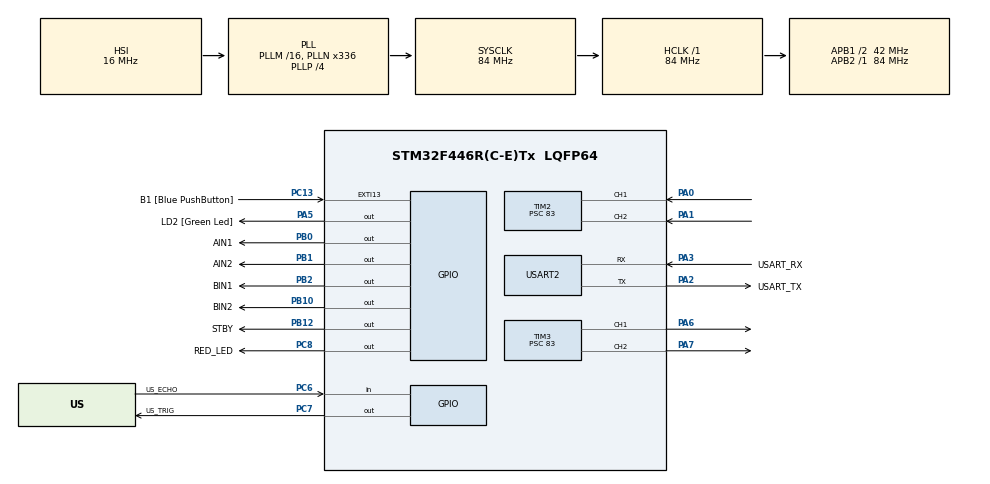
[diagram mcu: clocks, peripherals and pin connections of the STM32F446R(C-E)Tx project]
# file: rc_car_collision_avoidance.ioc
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Mcu.Family=STM32F4
Mcu.Name=STM32F446R(C-E)Tx
Mcu.Package=LQFP64
NVIC.PriorityGroup=NVIC_PRIORITYGROUP_0
NVIC.TIM2_IRQn=true\:0\:0\:false\:false\:true\:true\:true\:true
PA0-WKUP.Signal=S_TIM2_CH1_ETR
PA1.Signal=S_TIM2_CH2
PA13.GPIO_Label=TMS
PA13.Mode=Serial_Wire
PA13.Signal=SYS_JTMS-SWDIO
PA14.GPIO_Label=TCK
PA14.Mode=Serial_Wire
PA14.Signal=SYS_JTCK-SWCLK
PA2.GPIO_Label=USART_TX
PA2.Mode=Asynchronous
PA2.Signal=USART2_TX
PA3.GPIO_Label=USART_RX
PA3.Mode=Asynchronous
PA3.Signal=USART2_RX
PA5.GPIO_Label=LD2 [Green Led]
PA5.Signal=GPIO_Output
PA6.Signal=S_TIM3_CH1
PA7.Signal=S_TIM3_CH2
PB0.GPIO_Label=AIN1
PB0.Signal=GPIO_Output
PB1.GPIO_Label=AIN2
PB1.Signal=GPIO_Output
PB10.GPIO_Label=BIN2
PB10.Signal=GPIO_Output
PB12.GPIO_Label=STBY
PB12.Signal=GPIO_Output
PB2.GPIO_Label=BIN1
PB2.Signal=GPIO_Output
PB3.GPIO_Label=SWO
PB3.Signal=SYS_JTDO-SWO
PC13.GPIO_Label=B1 [Blue PushButton]
PC13.GPIO_ModeDefaultEXTI=GPIO_MODE_IT_FALLING
PC13.Signal=GPXTI13
PC14-OSC32_IN.Mode=LSE-External-Oscillator
PC14-OSC32_IN.Signal=RCC_OSC32_IN
PC15-OSC32_OUT.Mode=LSE-External-Oscillator
PC15-OSC32_OUT.Signal=RCC_OSC32_OUT
PC6.GPIO_Label=US_ECHO
PC6.Signal=GPIO_Input
PC7.GPIO_Label=US_TRIG
PC7.Signal=GPIO_Output
PC8.GPIO_Label=RED_LED
PC8.Signal=GPIO_Output
PH0-OSC_IN.Mode=HSE-External-Oscillator
PH0-OSC_IN.Signal=RCC_OSC_IN
PH1-OSC_OUT.Mode=HSE-External-Oscillator
PH1-OSC_OUT.Signal=RCC_OSC_OUT
ProjectManager.HeapSize=0x200
ProjectManager.StackSize=0x400
ProjectManager.TargetToolchain=STM32CubeIDE
RCC.48MHZClocksFreq_Value=84000000
RCC.AHBFreq_Value=84000000
RCC.APB1CLKDivider=RCC_HCLK_DIV2
RCC.APB1Freq_Value=42000000
RCC.APB1TimFreq_Value=84000000
RCC.APB2Freq_Value=84000000
RCC.APB2TimFreq_Value=84000000
RCC.CortexFreq_Value=84000000
RCC.FLatency-AdvancedSettings=FLASH_LATENCY_2
RCC.HCLKFreq_Value=84000000
RCC.HSE_VALUE=8000000
RCC.HSI_VALUE=16000000
RCC.PLLN=336
RCC.PLLP=RCC_PLLP_DIV4
RCC.SYSCLKFreq_VALUE=84000000
RCC.SYSCLKSource=RCC_SYSCLKSOURCE_PLLCLK
RCC.USBFreq_Value=168000000
RCC.VCOOutputFreq_Value=336000000
SH.S_TIM2_CH1_ETR.0=TIM2_CH1,Input_Capture1_from_TI1
SH.S_TIM2_CH2.0=TIM2_CH2,Input_Capture2_from_TI2
SH.S_TIM3_CH1.0=TIM3_CH1,PWM Generation1 CH1
SH.S_TIM3_CH2.0=TIM3_CH2,PWM Generation2 CH2
TIM2.Channel-Input_Capture1_from_TI1=TIM_CHANNEL_1
TIM2.Channel-Input_Capture2_from_TI2=TIM_CHANNEL_2
TIM2.Period=65535
TIM2.Prescaler=83
TIM3.Channel-PWM\ Generation1\ CH1=TIM_CHANNEL_1
TIM3.Channel-PWM\ Generation2\ CH2=TIM_CHANNEL_2
TIM3.Period=100
TIM3.Prescaler=83
USART2.VirtualMode=VM_ASYNC
VP_TIM2_VS_ClockSourceINT.Mode=Internal
VP_TIM3_VS_ClockSourceINT.Mode=Internal
board=NUCLEO-F446RE

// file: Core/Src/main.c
/* USER CODE BEGIN Header */
/**
  ******************************************************************************
  * @file           : main.c
  * @brief          : Main program body
  ******************************************************************************
  * @attention
  *
  * Copyright (c) 2026 STMicroelectronics.
  * All rights reserved.
  *
  * This software is licensed under terms that can be found in the LICENSE file
  * in the root directory of this software component.
  * If no LICENSE file comes with this software, it is provided AS-IS.
  *
  ******************************************************************************
  */
/* USER CODE END Header */
#include "main.h"

/* USER CODE BEGIN Includes */
#include <stdio.h>
#include <stdlib.h>
/* USER CODE END Includes */

/* USER CODE BEGIN PD */
#define WARNING_DISTANCE_CM   25
#define STOP_DISTANCE_CM      12
#define ECHO_TIMEOUT_US       30000
/* USER CODE END PD */

TIM_HandleTypeDef htim2;
TIM_HandleTypeDef htim3;

UART_HandleTypeDef huart2;

/* USER CODE BEGIN PV */
volatile uint32_t ch1_rise = 0;
volatile uint32_t ch2_rise = 0;

volatile uint16_t ch1_us = 1500;   // steering
volatile uint16_t ch2_us = 1500;   // throttle

volatile uint8_t ch1_wait_falling = 0;
volatile uint8_t ch2_wait_falling = 0;

uint32_t front_distance_cm = 999;
/* USER CODE END PV */

void SystemClock_Config(void);
static void MX_GPIO_Init(void);
static void MX_USART2_UART_Init(void);
static void MX_TIM2_Init(void);
static void MX_TIM3_Init(void);
/* USER CODE BEGIN PFP */
int __io_putchar(int ch);
int clamp_cmd(int x);
int map_pulse_to_cmd(uint16_t us);
void motor_left_set(int cmd);
void motor_right_set(int cmd);
void delay_us(uint16_t us);
uint32_t ultrasonic_read_cm(void);
/* USER CODE END PFP */

/* USER CODE BEGIN 0 */

int __io_putchar(int ch)
{
  HAL_UART_Transmit(&huart2, (uint8_t *)&ch, 1, HAL_MAX_DELAY);
  return ch;
}

int clamp_cmd(int x)
{
  if (x > 100) return 100;
  if (x < -100) return -100;
  return x;
}

int map_pulse_to_cmd(uint16_t us)
{
  int val = ((int)us - 1500) / 5;   // about -100 to 100

  if (abs(val) < 5) {
    val = 0;
  }

  return clamp_cmd(val);
}

void motor_left_set(int cmd)
{
  int pwm = abs(cmd);
  if (pwm > 100) pwm = 100;

  if (cmd > 0) {
    HAL_GPIO_WritePin(AIN1_GPIO_Port, AIN1_Pin, GPIO_PIN_SET);
    HAL_GPIO_WritePin(AIN2_GPIO_Port, AIN2_Pin, GPIO_PIN_RESET);
  } else if (cmd < 0) {
    HAL_GPIO_WritePin(AIN1_GPIO_Port, AIN1_Pin, GPIO_PIN_RESET);
    HAL_GPIO_WritePin(AIN2_GPIO_Port, AIN2_Pin, GPIO_PIN_SET);
  } else {
    HAL_GPIO_WritePin(AIN1_GPIO_Port, AIN1_Pin, GPIO_PIN_RESET);
    HAL_GPIO_WritePin(AIN2_GPIO_Port, AIN2_Pin, GPIO_PIN_RESET);
  }

  __HAL_TIM_SET_COMPARE(&htim3, TIM_CHANNEL_1, pwm);
}

void motor_right_set(int cmd)
{
  int pwm = abs(cmd);
  if (pwm > 100) pwm = 100;

  if (cmd > 0) {
    HAL_GPIO_WritePin(BIN1_GPIO_Port, BIN1_Pin, GPIO_PIN_SET);
    HAL_GPIO_WritePin(BIN2_GPIO_Port, BIN2_Pin, GPIO_PIN_RESET);
  } else if (cmd < 0) {
    HAL_GPIO_WritePin(BIN1_GPIO_Port, BIN1_Pin, GPIO_PIN_RESET);
    HAL_GPIO_WritePin(BIN2_GPIO_Port, BIN2_Pin, GPIO_PIN_SET);
  } else {
    HAL_GPIO_WritePin(BIN1_GPIO_Port, BIN1_Pin, GPIO_PIN_RESET);
    HAL_GPIO_WritePin(BIN2_GPIO_Port, BIN2_Pin, GPIO_PIN_RESET);
  }

  __HAL_TIM_SET_COMPARE(&htim3, TIM_CHANNEL_2, pwm);
}

void delay_us(uint16_t us)
{
  __HAL_TIM_SET_COUNTER(&htim2, 0);
  while (__HAL_TIM_GET_COUNTER(&htim2) < us);
}

uint32_t ultrasonic_read_cm(void)
{
  uint32_t start_tick;
  uint32_t echo_start;
  uint32_t echo_end;
  uint32_t pulse_width_us;

  HAL_GPIO_WritePin(US_TRIG_GPIO_Port, US_TRIG_Pin, GPIO_PIN_RESET);
  delay_us(2);

  HAL_GPIO_WritePin(US_TRIG_GPIO_Port, US_TRIG_Pin, GPIO_PIN_SET);
  delay_us(10);
  HAL_GPIO_WritePin(US_TRIG_GPIO_Port, US_TRIG_Pin, GPIO_PIN_RESET);

  start_tick = __HAL_TIM_GET_COUNTER(&htim2);
  while (HAL_GPIO_ReadPin(US_ECHO_GPIO_Port, US_ECHO_Pin) == GPIO_PIN_RESET)
  {
    if (((__HAL_TIM_GET_COUNTER(&htim2) - start_tick) & 0xFFFF) > ECHO_TIMEOUT_US) {
      return 999;
    }
  }

  echo_start = __HAL_TIM_GET_COUNTER(&htim2);

  while (HAL_GPIO_ReadPin(US_ECHO_GPIO_Port, US_ECHO_Pin) == GPIO_PIN_SET)
  {
    if (((__HAL_TIM_GET_COUNTER(&htim2) - echo_start) & 0xFFFF) > ECHO_TIMEOUT_US) {
      return 999;
    }
  }

  echo_end = __HAL_TIM_GET_COUNTER(&htim2);

  if (echo_end >= echo_start) {
    pulse_width_us = echo_end - echo_start;
  } else {
    pulse_width_us = (65535 - echo_start + 1) + echo_end;
  }

  return pulse_width_us / 58;
}

/* USER CODE END 0 */

int main(void)
{

  /* MCU Configuration--------------------------------------------------------*/

  HAL_Init();

  SystemClock_Config();

  MX_GPIO_Init();
  MX_USART2_UART_Init();
  MX_TIM2_Init();
  MX_TIM3_Init();

  /* USER CODE BEGIN 2 */
  HAL_TIM_IC_Start_IT(&htim2, TIM_CHANNEL_1);
  HAL_TIM_IC_Start_IT(&htim2, TIM_CHANNEL_2);

  HAL_TIM_Base_Start(&htim2);

  HAL_TIM_PWM_Start(&htim3, TIM_CHANNEL_1);
  HAL_TIM_PWM_Start(&htim3, TIM_CHANNEL_2);

  HAL_GPIO_WritePin(STBY_GPIO_Port, STBY_Pin, GPIO_PIN_SET);
  HAL_GPIO_WritePin(RED_LED_GPIO_Port, RED_LED_Pin, GPIO_PIN_RESET);

  printf("RC car collision avoidance started\r\n");
  /* USER CODE END 2 */

  /* Infinite loop */
  /* USER CODE BEGIN WHILE */
  while (1)
  {
    int steering = map_pulse_to_cmd(ch1_us);
    int throttle = map_pulse_to_cmd(ch2_us);

    steering = -steering;
    throttle = -throttle;

    front_distance_cm = ultrasonic_read_cm();

    if (front_distance_cm < WARNING_DISTANCE_CM) {
      HAL_GPIO_WritePin(RED_LED_GPIO_Port, RED_LED_Pin, GPIO_PIN_SET);
    } else {
      HAL_GPIO_WritePin(RED_LED_GPIO_Port, RED_LED_Pin, GPIO_PIN_RESET);
    }

    // After inversion, forward motion corresponds to throttle < 0
    if ((front_distance_cm < STOP_DISTANCE_CM) && (throttle < 0)) {
      throttle = 0;
    }

    int left_cmd  = clamp_cmd(throttle + steering);
    int right_cmd = clamp_cmd(throttle - steering);

    motor_left_set(left_cmd);
    motor_right_set(right_cmd);

    printf("CH1=%u CH2=%u Dist=%lucm L=%d R=%d\r\n",
           ch1_us, ch2_us, front_distance_cm, left_cmd, right_cmd);

    HAL_Delay(50);

    /* USER CODE END WHILE */

  }
}

void SystemClock_Config(void)
{
  RCC_OscInitTypeDef RCC_OscInitStruct = {0};
  RCC_ClkInitTypeDef RCC_ClkInitStruct = {0};

  __HAL_RCC_PWR_CLK_ENABLE();
  __HAL_PWR_VOLTAGESCALING_CONFIG(PWR_REGULATOR_VOLTAGE_SCALE3);

  RCC_OscInitStruct.OscillatorType = RCC_OSCILLATORTYPE_HSI;
  RCC_OscInitStruct.HSIState = RCC_HSI_ON;
  RCC_OscInitStruct.HSICalibrationValue = RCC_HSICALIBRATION_DEFAULT;
  RCC_OscInitStruct.PLL.PLLState = RCC_PLL_ON;
  RCC_OscInitStruct.PLL.PLLSource = RCC_PLLSOURCE_HSI;
  RCC_OscInitStruct.PLL.PLLM = 16;
  RCC_OscInitStruct.PLL.PLLN = 336;
  RCC_OscInitStruct.PLL.PLLP = RCC_PLLP_DIV4;
  RCC_OscInitStruct.PLL.PLLQ = 2;
  RCC_OscInitStruct.PLL.PLLR = 2;
  if (HAL_RCC_OscConfig(&RCC_OscInitStruct) != HAL_OK)
  {
    Error_Handler();
  }

  RCC_ClkInitStruct.ClockType = RCC_CLOCKTYPE_HCLK|RCC_CLOCKTYPE_SYSCLK
                              |RCC_CLOCKTYPE_PCLK1|RCC_CLOCKTYPE_PCLK2;
  RCC_ClkInitStruct.SYSCLKSource = RCC_SYSCLKSOURCE_PLLCLK;
  RCC_ClkInitStruct.AHBCLKDivider = RCC_SYSCLK_DIV1;
  RCC_ClkInitStruct.APB1CLKDivider = RCC_HCLK_DIV2;
  RCC_ClkInitStruct.APB2CLKDivider = RCC_HCLK_DIV1;

  if (HAL_RCC_ClockConfig(&RCC_ClkInitStruct, FLASH_LATENCY_2) != HAL_OK)
  {
    Error_Handler();
  }
}

static void MX_TIM2_Init(void)
{

  TIM_ClockConfigTypeDef sClockSourceConfig = {0};
  TIM_MasterConfigTypeDef sMasterConfig = {0};
  TIM_IC_InitTypeDef sConfigIC = {0};

  htim2.Instance = TIM2;
  htim2.Init.Prescaler = 83;
  htim2.Init.CounterMode = TIM_COUNTERMODE_UP;
  htim2.Init.Period = 65535;
  htim2.Init.ClockDivision = TIM_CLOCKDIVISION_DIV1;
  htim2.Init.AutoReloadPreload = TIM_AUTORELOAD_PRELOAD_DISABLE;
  if (HAL_TIM_Base_Init(&htim2) != HAL_OK)
  {
    Error_Handler();
  }
  sClockSourceConfig.ClockSource = TIM_CLOCKSOURCE_INTERNAL;
  if (HAL_TIM_ConfigClockSource(&htim2, &sClockSourceConfig) != HAL_OK)
  {
    Error_Handler();
  }
  if (HAL_TIM_IC_Init(&htim2) != HAL_OK)
  {
    Error_Handler();
  }
  sMasterConfig.MasterOutputTrigger = TIM_TRGO_RESET;
  sMasterConfig.MasterSlaveMode = TIM_MASTERSLAVEMODE_DISABLE;
  if (HAL_TIMEx_MasterConfigSynchronization(&htim2, &sMasterConfig) != HAL_OK)
  {
    Error_Handler();
  }
  sConfigIC.ICPolarity = TIM_INPUTCHANNELPOLARITY_RISING;
  sConfigIC.ICSelection = TIM_ICSELECTION_DIRECTTI;
  sConfigIC.ICPrescaler = TIM_ICPSC_DIV1;
  sConfigIC.ICFilter = 0;
  if (HAL_TIM_IC_ConfigChannel(&htim2, &sConfigIC, TIM_CHANNEL_1) != HAL_OK)
  {
    Error_Handler();
  }
  if (HAL_TIM_IC_ConfigChannel(&htim2, &sConfigIC, TIM_CHANNEL_2) != HAL_OK)
  {
    Error_Handler();
  }

}

static void MX_TIM3_Init(void)
{

  TIM_ClockConfigTypeDef sClockSourceConfig = {0};
  TIM_MasterConfigTypeDef sMasterConfig = {0};
  TIM_OC_InitTypeDef sConfigOC = {0};

  htim3.Instance = TIM3;
  htim3.Init.Prescaler = 83;
  htim3.Init.CounterMode = TIM_COUNTERMODE_UP;
  htim3.Init.Period = 100;
  htim3.Init.ClockDivision = TIM_CLOCKDIVISION_DIV1;
  htim3.Init.AutoReloadPreload = TIM_AUTORELOAD_PRELOAD_DISABLE;
  if (HAL_TIM_Base_Init(&htim3) != HAL_OK)
  {
    Error_Handler();
  }
  sClockSourceConfig.ClockSource = TIM_CLOCKSOURCE_INTERNAL;
  if (HAL_TIM_ConfigClockSource(&htim3, &sClockSourceConfig) != HAL_OK)
  {
    Error_Handler();
  }
  if (HAL_TIM_PWM_Init(&htim3) != HAL_OK)
  {
    Error_Handler();
  }
  sMasterConfig.MasterOutputTrigger = TIM_TRGO_RESET;
  sMasterConfig.MasterSlaveMode = TIM_MASTERSLAVEMODE_DISABLE;
  if (HAL_TIMEx_MasterConfigSynchronization(&htim3, &sMasterConfig) != HAL_OK)
  {
    Error_Handler();
  }
  sConfigOC.OCMode = TIM_OCMODE_PWM1;
  sConfigOC.Pulse = 0;
  sConfigOC.OCPolarity = TIM_OCPOLARITY_HIGH;
  sConfigOC.OCFastMode = TIM_OCFAST_DISABLE;
  if (HAL_TIM_PWM_ConfigChannel(&htim3, &sConfigOC, TIM_CHANNEL_1) != HAL_OK)
  {
    Error_Handler();
  }
  if (HAL_TIM_PWM_ConfigChannel(&htim3, &sConfigOC, TIM_CHANNEL_2) != HAL_OK)
  {
    Error_Handler();
  }
  HAL_TIM_MspPostInit(&htim3);

}

static void MX_USART2_UART_Init(void)
{

  huart2.Instance = USART2;
  huart2.Init.BaudRate = 115200;
  huart2.Init.WordLength = UART_WORDLENGTH_8B;
  huart2.Init.StopBits = UART_STOPBITS_1;
  huart2.Init.Parity = UART_PARITY_NONE;
  huart2.Init.Mode = UART_MODE_TX_RX;
  huart2.Init.HwFlowCtl = UART_HWCONTROL_NONE;
  huart2.Init.OverSampling = UART_OVERSAMPLING_16;
  if (HAL_UART_Init(&huart2) != HAL_OK)
  {
    Error_Handler();
  }

}

static void MX_GPIO_Init(void)
{
  GPIO_InitTypeDef GPIO_InitStruct = {0};

  /* GPIO Ports Clock Enable */
  __HAL_RCC_GPIOC_CLK_ENABLE();
  __HAL_RCC_GPIOH_CLK_ENABLE();
  __HAL_RCC_GPIOA_CLK_ENABLE();
  __HAL_RCC_GPIOB_CLK_ENABLE();

  /*Configure GPIO pin Output Level */
  HAL_GPIO_WritePin(LD2_GPIO_Port, LD2_Pin, GPIO_PIN_RESET);

  /*Configure GPIO pin Output Level */
  HAL_GPIO_WritePin(GPIOB, AIN1_Pin|AIN2_Pin|BIN1_Pin|BIN2_Pin
                          |STBY_Pin, GPIO_PIN_RESET);

  /*Configure GPIO pin Output Level */
  HAL_GPIO_WritePin(GPIOC, US_TRIG_Pin|RED_LED_Pin, GPIO_PIN_RESET);

  /*Configure GPIO pin : B1_Pin */
  GPIO_InitStruct.Pin = B1_Pin;
  GPIO_InitStruct.Mode = GPIO_MODE_IT_FALLING;
  GPIO_InitStruct.Pull = GPIO_NOPULL;
  HAL_GPIO_Init(B1_GPIO_Port, &GPIO_InitStruct);

  /*Configure GPIO pin : LD2_Pin */
  GPIO_InitStruct.Pin = LD2_Pin;
  GPIO_InitStruct.Mode = GPIO_MODE_OUTPUT_PP;
  GPIO_InitStruct.Pull = GPIO_NOPULL;
  GPIO_InitStruct.Speed = GPIO_SPEED_FREQ_LOW;
  HAL_GPIO_Init(LD2_GPIO_Port, &GPIO_InitStruct);

  /*Configure GPIO pins : AIN1_Pin AIN2_Pin BIN1_Pin BIN2_Pin
                           STBY_Pin */
  GPIO_InitStruct.Pin = AIN1_Pin|AIN2_Pin|BIN1_Pin|BIN2_Pin
                          |STBY_Pin;
  GPIO_InitStruct.Mode = GPIO_MODE_OUTPUT_PP;
  GPIO_InitStruct.Pull = GPIO_NOPULL;
  GPIO_InitStruct.Speed = GPIO_SPEED_FREQ_LOW;
  HAL_GPIO_Init(GPIOB, &GPIO_InitStruct);

  /*Configure GPIO pin : US_ECHO_Pin */
  GPIO_InitStruct.Pin = US_ECHO_Pin;
  GPIO_InitStruct.Mode = GPIO_MODE_INPUT;
  GPIO_InitStruct.Pull = GPIO_NOPULL;
  HAL_GPIO_Init(US_ECHO_GPIO_Port, &GPIO_InitStruct);

  /*Configure GPIO pins : US_TRIG_Pin RED_LED_Pin */
  GPIO_InitStruct.Pin = US_TRIG_Pin|RED_LED_Pin;
  GPIO_InitStruct.Mode = GPIO_MODE_OUTPUT_PP;
  GPIO_InitStruct.Pull = GPIO_NOPULL;
  GPIO_InitStruct.Speed = GPIO_SPEED_FREQ_LOW;
  HAL_GPIO_Init(GPIOC, &GPIO_InitStruct);

}

/* USER CODE BEGIN 4 */
void HAL_TIM_IC_CaptureCallback(TIM_HandleTypeDef *htim)
{
  if (htim->Instance == TIM2)
  {
    if (htim->Channel == HAL_TIM_ACTIVE_CHANNEL_1)
    {
      uint32_t capture = HAL_TIM_ReadCapturedValue(htim, TIM_CHANNEL_1);

      if (ch1_wait_falling == 0)
      {
        ch1_rise = capture;
        ch1_wait_falling = 1;
        __HAL_TIM_SET_CAPTUREPOLARITY(htim, TIM_CHANNEL_1, TIM_INPUTCHANNELPOLARITY_FALLING);
      }
      else
      {
        if (capture >= ch1_rise)
        {
          ch1_us = (uint16_t)(capture - ch1_rise);
        }
        else
        {
          ch1_us = (uint16_t)((65535 - ch1_rise + 1) + capture);
        }

        ch1_wait_falling = 0;
        __HAL_TIM_SET_CAPTUREPOLARITY(htim, TIM_CHANNEL_1, TIM_INPUTCHANNELPOLARITY_RISING);
      }
    }

    if (htim->Channel == HAL_TIM_ACTIVE_CHANNEL_2)
    {
      uint32_t capture = HAL_TIM_ReadCapturedValue(htim, TIM_CHANNEL_2);

      if (ch2_wait_falling == 0)
      {
        ch2_rise = capture;
        ch2_wait_falling = 1;
        __HAL_TIM_SET_CAPTUREPOLARITY(htim, TIM_CHANNEL_2, TIM_INPUTCHANNELPOLARITY_FALLING);
      }
      else
      {
        if (capture >= ch2_rise)
        {
          ch2_us = (uint16_t)(capture - ch2_rise);
        }
        else
        {
          ch2_us = (uint16_t)((65535 - ch2_rise + 1) + capture);
        }

        ch2_wait_falling = 0;
        __HAL_TIM_SET_CAPTUREPOLARITY(htim, TIM_CHANNEL_2, TIM_INPUTCHANNELPOLARITY_RISING);
      }
    }
  }
}
/* USER CODE END 4 */

void Error_Handler(void)
{
  __disable_irq();
  while (1)
  {
  }
}
